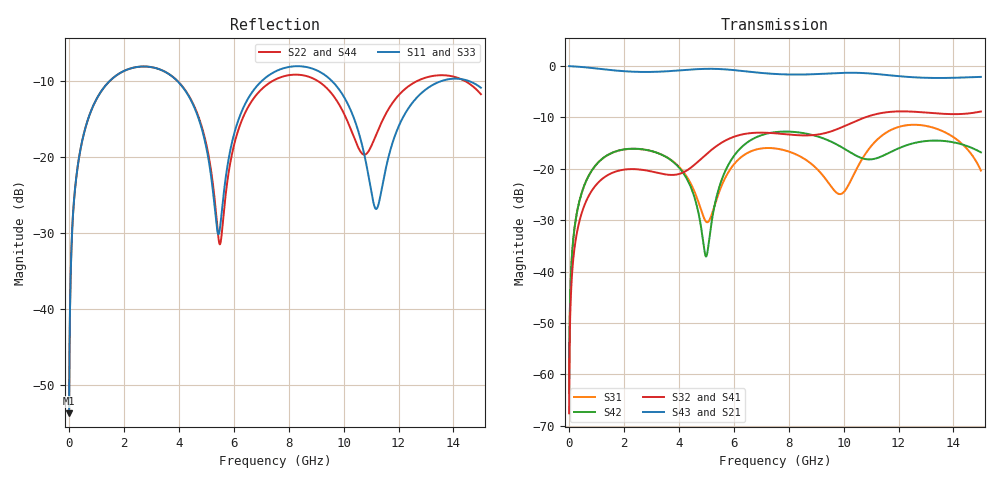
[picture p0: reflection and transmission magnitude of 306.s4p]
! Created with skrf 1.8.0 (http://scikit-rf.org).
# GHz S RI R 50.0
!freq ReS11 ImS11 ReS12 ImS12 ReS13 ImS13
! ReS14 ImS14
! ReS21 ImS21 ReS22 ImS22 ReS23 ImS23
! ReS24 ImS24
! ReS31 ImS31 ReS32 ImS32 ReS33 ImS33
! ReS34 ImS34
! ReS41 ImS41 ReS42 ImS42 ReS43 ImS43
! ReS44 ImS44
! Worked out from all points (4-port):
!   2499 points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, 5 MHz to 15 GHz, reference 50 ohm
!   strongest paths, dB at 5 MHz, 3.476 GHz, 7.19 GHz, 11.1 GHz, 15 GHz:
!     S43: 0.0, -1.0, -1.4, -1.5, -2.1
!     S21: 0.0, -1.0, -1.4, -1.5, -2.1
!     S32: -67.6, -21.0, -13.0, -9.5, -8.8
!     S41: -67.6, -21.1, -13.0, -9.5, -8.9
!     S42: -63.6, -17.5, -13.2, -18.1, -16.8
!     S31: -63.6, -17.5, -15.9, -15.0, -20.3
!   lowest |S11| = -53.7 dB at 5 MHz (marker M1), VSWR 1.00, Z = 50.2 + j0.125 ohm
!   |S11| at or under -10 dB: start of sweep to 1.489 GHz; 3.941 GHz to 7.026 GHz (3.085 GHz wide, 56.3 % of centre); 9.569 GHz to 13.58 GHz (4.015 GHz wide, 34.7 % of centre)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
0.005  0.00164 0.00125  0.9983 -0.00319  8.25e-05 0.000654  -8.01e-05 -0.00041
       0.9983 -0.00319  0.00164 0.00125  -8.01e-05 -0.00041  8.25e-05 0.000654
       8.25e-05 0.000654  -8.01e-05 -0.00041  0.00164 0.00125  0.9983 -0.00319
       -8.01e-05 -0.00041  8.25e-05 0.000654  0.9983 -0.00319  0.00164 0.00125
0.3126303  0.0241 0.082  0.9672 -0.1986  0.011 0.0389  -0.00922 -0.024
           0.9672 -0.1986  0.024 0.082  -0.00923 -0.024  0.0112 0.0388
           0.011 0.0389  -0.00923 -0.024  0.0241 0.082  0.9672 -0.1986
           -0.00922 -0.024  0.0112 0.0388  0.9672 -0.1986  0.024 0.082
1.569404  0.2741 0.1769  0.5416 -0.7342  0.1289 0.0615  -0.0911 -0.00495
          0.5416 -0.7342  0.2735 0.1774  -0.0911 -0.00491  0.1303 0.0598
          0.1289 0.0615  -0.0911 -0.00491  0.274 0.1769  0.5416 -0.7342
          -0.0911 -0.00495  0.1303 0.0598  0.5416 -0.7342  0.2735 0.1774
5.320967  0.0321 -0.0299  -0.928 -0.1467  -0.0316 0.0328  -0.0224 0.1612
          -0.928 -0.1467  0.029 -0.04  -0.0219 0.1613  0.0244 0.0395
          -0.0316 0.0328  -0.0219 0.1613  0.0309 -0.0304  -0.9279 -0.147
          -0.0224 0.1612  0.0244 0.0395  -0.9279 -0.147  0.0303 -0.0401
8.503543  0.388 -0.0648  0.0123 0.8271  0.128 0.00741  0.2017 -0.0599
          0.0123 0.8271  0.3443 -0.0107  0.2024 -0.062  0.1318 -0.1804
          0.128 0.00741  0.2024 -0.062  0.3863 -0.0611  0.012 0.8278
          0.2017 -0.0599  0.1318 -0.1804  0.012 0.8278  0.3431 -0.0145
11.25469  0.0474 0.00404  0.8346 -0.011  0.1242 0.1513  -0.0154 -0.3442
          0.8346 -0.011  0.1287 0.0762  -0.0191 -0.3436  -0.0566 0.115
          0.1242 0.1513  -0.0191 -0.3436  0.0499 0.00315  0.8349 -0.0103
          -0.0154 -0.3442  -0.0566 0.115  0.8349 -0.0103  0.1247 0.0763
15  0.2575 -0.1218  -0.3379 -0.7046  0.0399 -0.0876  -0.3114 0.1825
    -0.3379 -0.7046  0.226 -0.125  -0.31 0.1863  -0.00934 -0.1445
    0.0399 -0.0876  -0.31 0.1863  0.2461 -0.1167  -0.341 -0.707
    -0.3114 0.1825  -0.00934 -0.1445  -0.341 -0.707  0.2154 -0.1197
